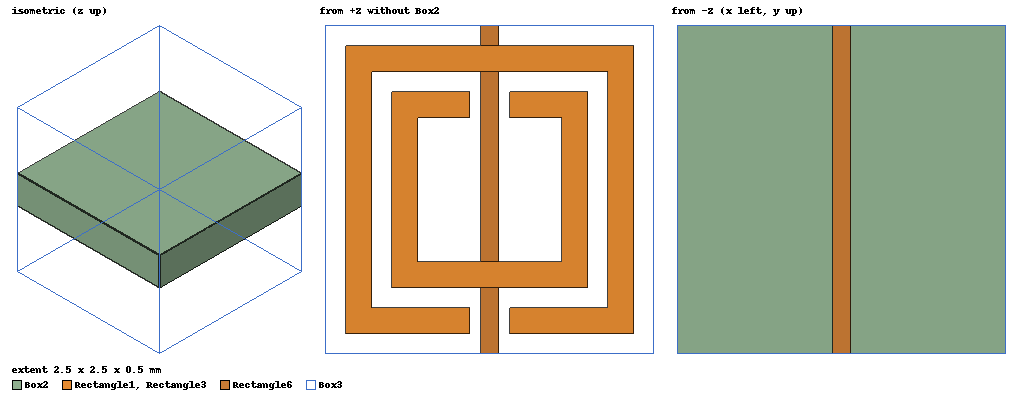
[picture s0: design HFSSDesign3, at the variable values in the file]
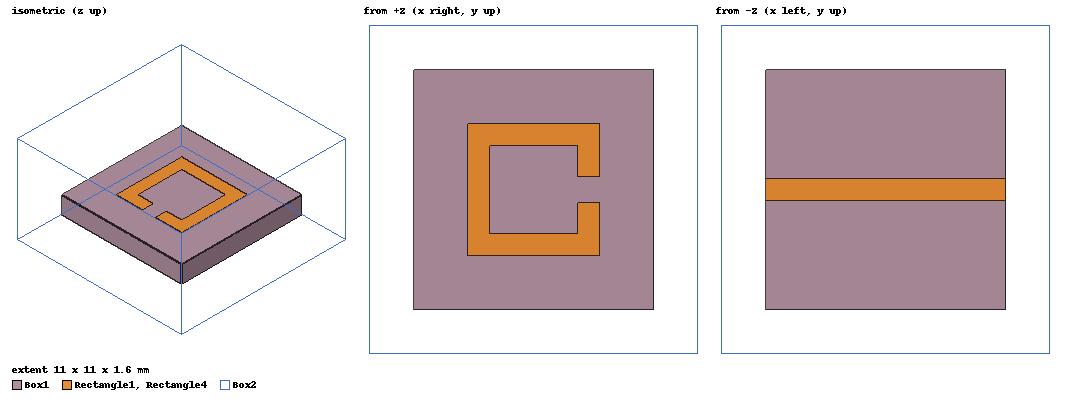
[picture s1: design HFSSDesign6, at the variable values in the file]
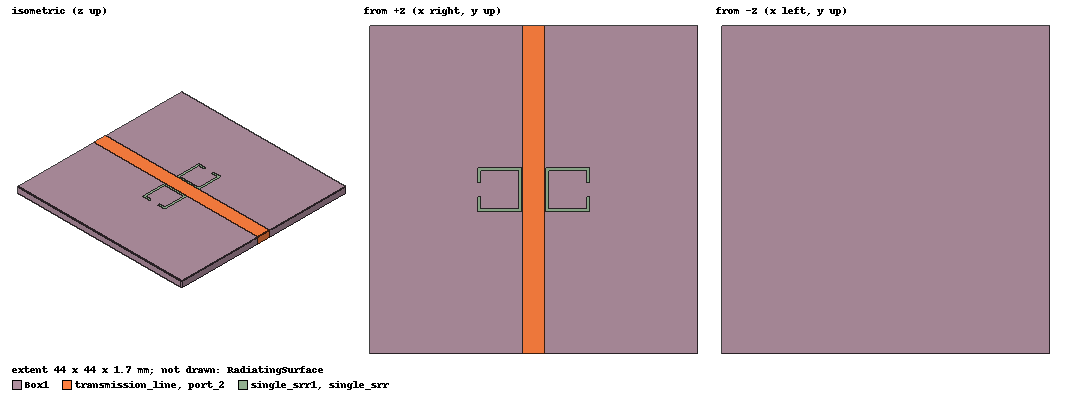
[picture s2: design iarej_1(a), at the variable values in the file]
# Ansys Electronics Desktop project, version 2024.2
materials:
  vacuum: permittivity=1
  FR4_epoxy: permittivity=4.4 dielectric_loss_tangent=0.02
  air: permittivity=1.0006 permeability=1.0000004
  copper: permeability=0.999991 conductivity=58000000

design HFSSDesign3 (HFSS, HFSS Terminal Network, model units mm)
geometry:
  Rectangle1 = rectangle(corner=(0.15mm, 0.15mm, 0.25mm), x_size=2.2mm, y_size=2.2mm)
  Box2 [FR4_epoxy] = box(corner=(0mm, 0mm, 0mm), size=(2.5mm, 2.5mm, 0.5mm))
  Rectangle2 = rectangle(corner=(0.35mm, 0.35mm, 0.25mm), x_size=1.8mm, y_size=1.8mm)
  Slit1 = rectangle(corner=(1.1mm, 0.15mm, 0.25mm), x_size=0.3mm, y_size=0.2mm)
  Rectangle1.subtract(Rectangle2, Slit1)
  Rectangle3 = rectangle(corner=(0.5mm, 0.5mm, 0.25mm), x_size=1.5mm, y_size=1.5mm)
  Rectangle4 = rectangle(corner=(0.7mm, 0.7mm, 0.25mm), x_size=1.1mm, y_size=1.1mm)
  Rectangle5 = rectangle(corner=(1.1mm, 1.8mm, 0.25mm), x_size=0.3mm, y_size=0.2mm)
  Rectangle3.subtract(Rectangle4, Rectangle5)
  Rectangle6 = rectangle(corner=(1.18mm, 0mm, 0mm), x_size=0.14mm, y_size=2.5mm)
  Box3 [air] = box(corner=(0mm, 0mm, -1mm), size=(2.5mm, 2.5mm, 2.5mm))
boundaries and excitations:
  PerfE1: Perfect E Faces=Box3.face(-y)
  PerfE2: Perfect E Faces=Box3.face(+y)
  PerfH1: Perfect H Faces=Box3.face(+z)
  PerfH2: Perfect H Faces=Box3.face(-z)
  PerfE3: Perfect E Objects=[Rectangle1, Rectangle3, Rectangle6]
  1: Wave Port Faces=Box3.face(-x) WavePortType=Modal NumModes=1 Modes{Mode1{IntLine{(0, 0, 0) -> (0, 2.5, 0)} CharImp=Zpi}}
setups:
  Setup1: HfssDriven Frequency=5GHz MaxDeltaS=0.02 MaximumPasses=10 MinimumPasses=1 MinimumConvergedPasses=1 PercentRefinement=30 BasisOrder=1 PortAccuracy=2 DrivenSolverType="Direct Solver"
    sweep Sweep: 2.5GHz to 7.5GHz, 401 points; Type=Interpolating InterpTolerance=0.5 InterpMaxSolns=250 PassivityErrorTolerance=0.0001
    sweep Sweep1: 1GHz to 10GHz, 401 points; Type=Interpolating InterpTolerance=0.5 InterpMaxSolns=250 PassivityErrorTolerance=0.0001
    sweep Sweep2: 2.5GHz to 7.5GHz, 401 points; Type=Interpolating InterpTolerance=0.5 InterpMaxSolns=250 PassivityErrorTolerance=0.0001
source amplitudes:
  1:1: 1V 0deg

design HFSSDesign6 (HFSS, HFSS Terminal Network, model units mm)
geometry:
  Box1 [FR4_epoxy] = box(corner=(0mm, 0mm, 0mm), size=(11mm, 11mm, 1.6mm))
  Rectangle1 = rectangle(corner=(2.5mm, 2.5mm, 1.6mm), x_size=6mm, y_size=6mm)
  Rectangle2 = rectangle(corner=(3.5mm, 3.5mm, 1.6mm), x_size=4mm, y_size=4mm)
  Rectangle3 = rectangle(corner=(7.5mm, 4.9mm, 1.6mm), x_size=1mm, y_size=1.2mm)
  Rectangle1.subtract(Rectangle2, Rectangle3)
  Box2 [air] = box(corner=(-2mm, -2mm, -2mm), size=(15mm, 15mm, 8mm))
  Rectangle4 = rectangle(corner=(0mm, 5mm, 0mm), x_size=11mm, y_size=1mm)
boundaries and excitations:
  PerfE1: Perfect E Faces=Box2.face(-y)
  PerfE2: Perfect E Faces=Box2.face(+y)
  PerfH1: Perfect H Faces=Box2.face(+z)
  PerfH2: Perfect H Faces=Box2.face(-z)
  PerfE3: Perfect E Objects=[Rectangle1, Rectangle4]
  1: Wave Port Faces=Box2.face(+x) WavePortType=Modal NumModes=1 Modes{Mode1{IntLine{(13000mm, -1500mm, 2000mm) -> (13, 13, 1.5)} CharImp=Zpi}}
  2: Wave Port Faces=Box2.face(-x) WavePortType=Modal NumModes=1 Modes{Mode1{IntLine{(-2, -2, 1.5) -> (-2, 13, 1.5)} CharImp=Zpi}}
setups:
  Setup1: HfssDriven Frequency=5GHz MaxDeltaS=0.02 MaximumPasses=10 MinimumPasses=1 MinimumConvergedPasses=1 PercentRefinement=30 BasisOrder=1 PortAccuracy=2 DrivenSolverType="Direct Solver"
    sweep Sweep: 1GHz to 10GHz, 401 points; Type=Interpolating InterpTolerance=0.5 InterpMaxSolns=250 PassivityErrorTolerance=0.0001
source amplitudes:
  1:1: 1V 0deg
  2:1: 0V 0deg
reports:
  S Parameter Plot 1:
  S Parameter Plot 2: dB(S(1,1)), dB(S(2,1)) vs Freq on Setup1 : Sweep; markers m1 at 5.365GHz, m2 at 5.3425GHz

design iarej_1(a) (HFSS, HFSS Terminal Network, model units mm)
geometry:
  Box1 [FR4_epoxy] = box(corner=((-(11*4)/2) mm, (-(11*4)/2) mm, 0mm), size=((11*4) mm, (11*4) mm, 1.6mm))
  transmission_line [copper] = box(corner=(-(3.06/2) mm, 22mm, 1.6mm), size=(3.06mm, -44mm, 0.1mm))
  port = rectangle(corner=(-1.53mm, -22mm, 1.7mm), z_size=-1.7mm, x_size=3.06mm)
  port_2 = rectangle(corner=(1.53mm, 22mm, 1.7mm), z_size=-1.7mm, x_size=-3.06mm)
  single_srr [copper] = box(corner=(2mm, -4mm, 1.6mm), size=(6mm, 6mm, 0.1mm))
  inner_box = box(corner=((2+0.5) mm, (-4+0.5) mm, 1.6mm), size=((6-1) mm, (6-1) mm, 0.1mm))
  single_srr.subtract(inner_box)
  single_srr.move(0mm, 1mm, -0.1mm)
  cut = box(corner=(7mm, 1mm, (1.6-0.1) mm), size=(2mm, -2mm, 0.1mm))
  single_srr.subtract(cut)
  RadiatingSurface [vacuum] = region(absolute_offset=20mm on all sides)
  single_srr.move(0.4mm, 0mm, 0mm)
  single_srr.move(-0.84mm, 0mm, 0mm)
  single_srr1 [copper] = box(corner=(2mm, -4mm, 1.6mm), size=(6mm, 6mm, 0.1mm))
  inner_box1 = box(corner=((2+0.5) mm, (-4+0.5) mm, 1.6mm), size=((6-1) mm, (6-1) mm, 0.1mm))
  single_srr1.subtract(inner_box1)
  single_srr1.move(0mm, 1mm, -0.1mm)
  cut1 = box(corner=(7mm, 1mm, (1.6-0.1) mm), size=(2mm, -2mm, 0.1mm))
  single_srr1.subtract(cut1)
  single_srr1.move(0.4mm, 0mm, 0mm)
  single_srr1.move(-0.84mm, 0mm, 0mm)
  single_srr1.rotate(axis=Z, angle=180deg)
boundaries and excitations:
  PerfE4: Perfect E Objects=transmission_line
  PerfE5: Perfect E Objects=single_srr
  Open1: Radiation Objects=RadiatingSurface
  PerfE6: Perfect E Objects=single_srr1
  1: Lumped Port Objects=port LumpedPortType=Modal Modes{Mode1{IntLine{(-0.4, -22, 0) -> (-0.4, -22, 1.6)} CharImp=Zpi}} Impedance=50ohm
  2: Lumped Port Objects=port_2 LumpedPortType=Modal Modes{Mode1{IntLine{(0, 22, 0) -> (0, 22, 1.7)} CharImp=Zpi}} Impedance=50ohm
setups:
  Setup1: HfssDriven Frequency=5GHz MaxDeltaS=0.02 MaximumPasses=6 MinimumPasses=1 MinimumConvergedPasses=1 PercentRefinement=30 BasisOrder=1 PortAccuracy=2 DrivenSolverType="Direct Solver"
    sweep Sweep: 2.5GHz to 7.5GHz, 401 points; Type=Interpolating InterpTolerance=0.5 InterpMaxSolns=250 PassivityErrorTolerance=0.0001
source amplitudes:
  1:1: 1V 0deg
  2:1: 0V 0deg
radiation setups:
  3D: Infinite Sphere Theta=0deg..180deg step 2deg Phi=-180deg..180deg step 2deg
  Elevation: Infinite Sphere Theta=-180deg..180deg step 1deg Phi=0deg..90deg step 90deg
  Azimuth: Infinite Sphere Theta=90deg..90deg step 0deg Phi=-180deg..180deg step 1deg
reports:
  S Parameter Plot 1: dB(S(1,1)), dB(S(2,1)) vs Freq on Setup1 : Sweep
